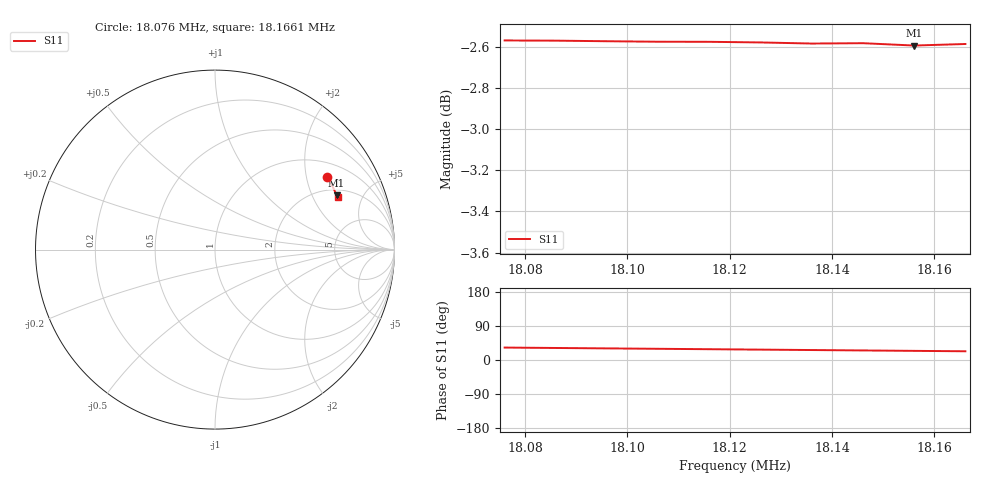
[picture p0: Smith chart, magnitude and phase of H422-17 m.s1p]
# HZ S RI R 50
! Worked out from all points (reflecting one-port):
!   10 points, 18.076 MHz to 18.1661 MHz, reference 50 ohm
!   lowest |S11| = -2.6 dB at 18.1561 MHz (marker M1), VSWR 6.75, Z = 115 + j155 ohm
!   phase of S11 starts at 33 deg and turns -10 deg over the sweep
1.807603e7  0.6252 0.4031
1.808603e7  0.6327 0.3912
1.809604e7  0.6398 0.379
1.810604e7  0.6467 0.3667
1.811604e7  0.6535 0.3544
1.812605e7  0.6598 0.3419
1.813605e7  0.6658 0.329
1.814606e7  0.6721 0.3164
1.815606e7  0.6771 0.303
1.816606e7  0.6833 0.2905
